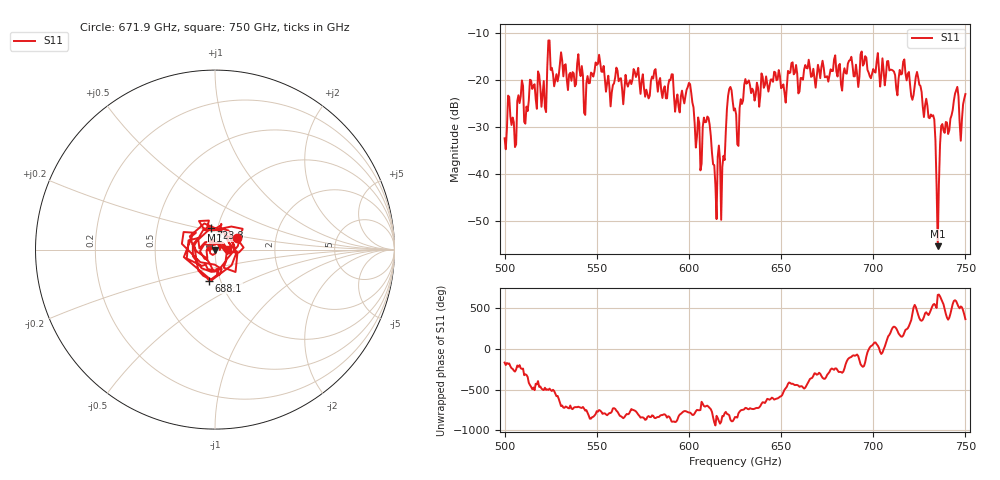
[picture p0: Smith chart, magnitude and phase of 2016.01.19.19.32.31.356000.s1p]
!Created with skrf (http://scikit-rf.org).
# GHz S RI R 50.0
!freq ReS11 ImS11
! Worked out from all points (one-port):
!   401 points, 500 GHz to 750 GHz, reference 50 ohm
!   lowest |S11| = -55.4 dB at 735 GHz (marker M1), VSWR 1.00, Z = 50.1 - j0.15 ohm
!   |S11| at or under -10 dB: start of sweep to end of sweep
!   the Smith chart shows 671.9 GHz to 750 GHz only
!   S11 on the Smith chart (normalised r, x): 671.9 GHz: 1.27, +0.16; 688.1 GHz: 0.89, -0.32; 723.8 GHz: 0.93, +0.22; 750 GHz: 1.15, +0.00
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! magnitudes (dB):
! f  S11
! 500 GHz  -32.5
! 508.8 GHz  -23.5
! 511.9 GHz  -25.7
! 521.2 GHz  -20.3
! 524.4 GHz  -11.6
! 531.2 GHz  -15.9
! 544.4 GHz  -20.7
! 550.6 GHz  -16.6
! 562.5 GHz  -19.8
! 593.8 GHz  -23.1
! 600 GHz  -20.7
! 605.6 GHz  -29.2
! 610.6 GHz  -28.1
! 616.2 GHz  -34.0
! 618.8 GHz  -36.2
! 621.9 GHz  -22.0
! 625 GHz  -26.1
! 631.2 GHz  -20.8
! 656.2 GHz  -16.3
! 671.9 GHz  -17.3
! 687.5 GHz  -15.8
! 688.1 GHz  -15.1
! 718.8 GHz  -18.7
! 723.8 GHz  -18.3
! 732.5 GHz  -27.6
! 735 GHz  -55.4
! 738.1 GHz  -30.8
! 750 GHz  -23.0
